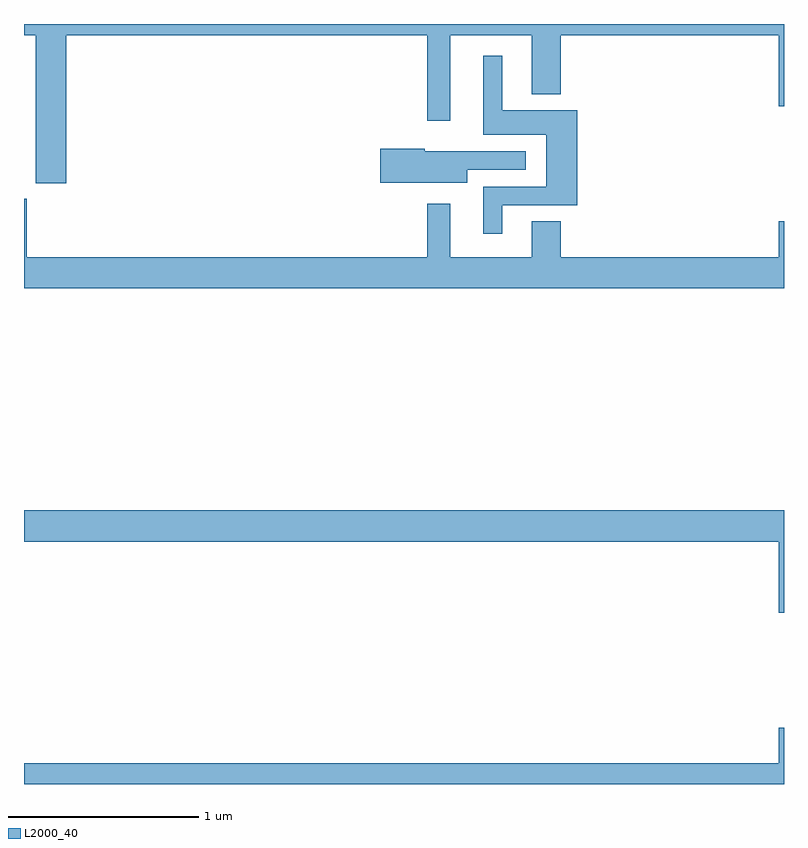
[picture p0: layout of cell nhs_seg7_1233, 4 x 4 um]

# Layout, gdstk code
import gdstk
lib = gdstk.Library(unit=1e-6, precision=1e-09)
def P(c, l, *ps):  # polygons
    for p in ps: c.add(gdstk.Polygon(p, *l))
L2000_40 = (2000, 40)

nhs_seg7_1233 = lib.new_cell('nhs_seg7_1233')
P(nhs_seg7_1233, L2000_40, [(197.222,1009.94),(199.122,1009.94),(199.122,1009.491),(199.243,1009.491),(199.243,1009.94),(199.673,1009.94),(199.673,1009.631),(199.826,1009.631),(199.826,1009.94),(200.972,1009.94),(200.972,1009.566),(201,1009.566),(201,1010),(197,1010),(197,1009.94),(197.062,1009.94),(197.062,1009.161),(197.222,1009.161)],
  [(199.516,1009.047),(199.912,1009.047),(199.912,1009.546),(199.516,1009.546),(199.516,1009.834),(199.418,1009.834),(199.418,1009.418),(199.748,1009.418),(199.748,1009.143),(199.418,1009.143),(199.418,1008.897),(199.516,1008.897)],
  [(199.333,1009.233),(199.642,1009.233),(199.642,1009.329),(199.329,1009.329),(199.329,1009.33),(199.11,1009.33),(199.11,1009.343),(198.876,1009.343),(198.876,1009.165),(199.333,1009.165)],
  [(201,1008.961),(200.972,1008.961),(200.972,1008.772),(199.826,1008.772),(199.826,1008.962),(199.673,1008.962),(199.673,1008.772),(199.243,1008.772),(199.243,1009.054),(199.122,1009.054),(199.122,1008.772),(197.014,1008.772),(197.014,1009.081),(197,1009.081),(197,1008.608),(201,1008.608)],
  [(201,1007.44),(197,1007.44),(197,1007.276),(200.972,1007.276),(200.972,1006.902),(201,1006.902)],
  [(201,1006.297),(200.972,1006.297),(200.972,1006.108),(197,1006.108),(197,1006),(201,1006)])

lib.write_gds('nhs_seg7_1233.gds')
